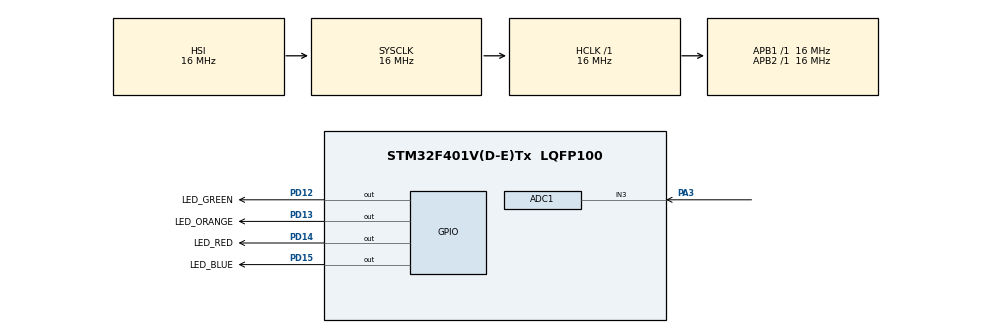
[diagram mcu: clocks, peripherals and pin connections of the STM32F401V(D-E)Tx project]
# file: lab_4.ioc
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ADC1.Channel-3\#ChannelRegularConversion=ADC_CHANNEL_3
ADC1.ClockPrescaler=ADC_CLOCK_SYNC_PCLK_DIV8
ADC1.NbrOfConversionFlag=1
ADC1.Rank-3\#ChannelRegularConversion=1
ADC1.SamplingTime-3\#ChannelRegularConversion=ADC_SAMPLETIME_480CYCLES
ADC1.master=1
Mcu.Family=STM32F4
Mcu.Name=STM32F401V(D-E)Tx
Mcu.Package=LQFP100
NVIC.ADC_IRQn=true\:0\:0\:false\:false\:true\:true\:true\:true
NVIC.PriorityGroup=NVIC_PRIORITYGROUP_4
PA3.Signal=ADCx_IN3
PD12.GPIO_Label=LED_GREEN
PD12.Signal=GPIO_Output
PD13.GPIO_Label=LED_ORANGE
PD13.Signal=GPIO_Output
PD14.GPIO_Label=LED_RED
PD14.Signal=GPIO_Output
PD15.GPIO_Label=LED_BLUE
PD15.Signal=GPIO_Output
ProjectManager.HeapSize=0x200
ProjectManager.StackSize=0x400
ProjectManager.TargetToolchain=STM32CubeIDE
RCC.AHBFreq_Value=16000000
RCC.APB1Freq_Value=16000000
RCC.APB2Freq_Value=16000000
RCC.CortexFreq_Value=16000000
RCC.HSE_VALUE=25000000
RCC.HSI_VALUE=16000000
RCC.LSE_VALUE=32768
RCC.SYSCLKFreq_VALUE=16000000
RCC.VCOOutputFreq_Value=192000000
SH.ADCx_IN3.0=ADC1_IN3,IN3
board=custom

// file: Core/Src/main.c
/* USER CODE BEGIN Header */
/**
  ******************************************************************************
  * @file           : main.c
  * @brief          : Main program body
  ******************************************************************************
  * @attention
  *
  * Copyright (c) 2023 STMicroelectronics.
  * All rights reserved.
  *
  * This software is licensed under terms that can be found in the LICENSE file
  * in the root directory of this software component.
  * If no LICENSE file comes with this software, it is provided AS-IS.
  *
  ******************************************************************************
  */
/* USER CODE END Header */
#include "main.h"

/* USER CODE BEGIN PD */
#define MAX_ADC (4096)
/* USER CODE END PD */

ADC_HandleTypeDef hadc1;

void SystemClock_Config(void);
static void MX_GPIO_Init(void);
static void MX_ADC1_Init(void);

/* USER CODE BEGIN 0 */
void HAL_ADC_ConvCpltCallback(ADC_HandleTypeDef* hadc)
{
	uint32_t value;

	if (hadc->Instance == ADC1)
	{
		value = HAL_ADC_GetValue(&hadc1);

		if (value < (MAX_ADC * 0.2))
		{
			HAL_GPIO_WritePin(LED_GREEN_GPIO_Port, LED_GREEN_Pin, GPIO_PIN_RESET);
			HAL_GPIO_WritePin(LED_ORANGE_GPIO_Port, LED_ORANGE_Pin, GPIO_PIN_RESET);
			HAL_GPIO_WritePin(LED_RED_GPIO_Port, LED_RED_Pin, GPIO_PIN_RESET);
			HAL_GPIO_WritePin(LED_BLUE_GPIO_Port, LED_BLUE_Pin, GPIO_PIN_RESET);
		}
		else if (value < (MAX_ADC * 0.4))
		{
			HAL_GPIO_WritePin(LED_GREEN_GPIO_Port, LED_GREEN_Pin, GPIO_PIN_SET);
			HAL_GPIO_WritePin(LED_ORANGE_GPIO_Port, LED_ORANGE_Pin, GPIO_PIN_RESET);
			HAL_GPIO_WritePin(LED_RED_GPIO_Port, LED_RED_Pin, GPIO_PIN_RESET);
			HAL_GPIO_WritePin(LED_BLUE_GPIO_Port, LED_BLUE_Pin, GPIO_PIN_RESET);
		}
		else if (value < (MAX_ADC * 0.6))
		{
			HAL_GPIO_WritePin(LED_GREEN_GPIO_Port, LED_GREEN_Pin, GPIO_PIN_SET);
			HAL_GPIO_WritePin(LED_ORANGE_GPIO_Port, LED_ORANGE_Pin, GPIO_PIN_SET);
			HAL_GPIO_WritePin(LED_RED_GPIO_Port, LED_RED_Pin, GPIO_PIN_RESET);
			HAL_GPIO_WritePin(LED_BLUE_GPIO_Port, LED_BLUE_Pin, GPIO_PIN_RESET);
		}
		else if (value < (MAX_ADC * 0.8))
		{
			HAL_GPIO_WritePin(LED_GREEN_GPIO_Port, LED_GREEN_Pin, GPIO_PIN_SET);
			HAL_GPIO_WritePin(LED_ORANGE_GPIO_Port, LED_ORANGE_Pin, GPIO_PIN_SET);
			HAL_GPIO_WritePin(LED_RED_GPIO_Port, LED_RED_Pin, GPIO_PIN_SET);
			HAL_GPIO_WritePin(LED_BLUE_GPIO_Port, LED_BLUE_Pin, GPIO_PIN_RESET);
		}
		else
		{
			HAL_GPIO_WritePin(LED_GREEN_GPIO_Port, LED_GREEN_Pin, GPIO_PIN_SET);
			HAL_GPIO_WritePin(LED_ORANGE_GPIO_Port, LED_ORANGE_Pin, GPIO_PIN_SET);
			HAL_GPIO_WritePin(LED_RED_GPIO_Port, LED_RED_Pin, GPIO_PIN_SET);
			HAL_GPIO_WritePin(LED_BLUE_GPIO_Port, LED_BLUE_Pin, GPIO_PIN_SET);
		}

		HAL_ADC_Start_IT(&hadc1);
	}
}
/* USER CODE END 0 */

int main(void)
{

  /* MCU Configuration--------------------------------------------------------*/

  /* Reset of all peripherals, Initializes the Flash interface and the Systick. */
  HAL_Init();

  /* Configure the system clock */
  SystemClock_Config();

  /* Initialize all configured peripherals */
  MX_GPIO_Init();
  MX_ADC1_Init();

  /* Infinite loop */
  /* USER CODE BEGIN WHILE */

  HAL_ADC_Start_IT(&hadc1);

  while (1)
  {
    /* USER CODE END WHILE */

  }
}

void SystemClock_Config(void)
{
  RCC_OscInitTypeDef RCC_OscInitStruct = {0};
  RCC_ClkInitTypeDef RCC_ClkInitStruct = {0};

  /** Configure the main internal regulator output voltage
  */
  __HAL_RCC_PWR_CLK_ENABLE();
  __HAL_PWR_VOLTAGESCALING_CONFIG(PWR_REGULATOR_VOLTAGE_SCALE2);

  /** Initializes the RCC Oscillators according to the specified parameters
  * in the RCC_OscInitTypeDef structure.
  */
  RCC_OscInitStruct.OscillatorType = RCC_OSCILLATORTYPE_HSI;
  RCC_OscInitStruct.HSIState = RCC_HSI_ON;
  RCC_OscInitStruct.HSICalibrationValue = RCC_HSICALIBRATION_DEFAULT;
  RCC_OscInitStruct.PLL.PLLState = RCC_PLL_NONE;
  if (HAL_RCC_OscConfig(&RCC_OscInitStruct) != HAL_OK)
  {
    Error_Handler();
  }

  /** Initializes the CPU, AHB and APB buses clocks
  */
  RCC_ClkInitStruct.ClockType = RCC_CLOCKTYPE_HCLK|RCC_CLOCKTYPE_SYSCLK
                              |RCC_CLOCKTYPE_PCLK1|RCC_CLOCKTYPE_PCLK2;
  RCC_ClkInitStruct.SYSCLKSource = RCC_SYSCLKSOURCE_HSI;
  RCC_ClkInitStruct.AHBCLKDivider = RCC_SYSCLK_DIV1;
  RCC_ClkInitStruct.APB1CLKDivider = RCC_HCLK_DIV1;
  RCC_ClkInitStruct.APB2CLKDivider = RCC_HCLK_DIV1;

  if (HAL_RCC_ClockConfig(&RCC_ClkInitStruct, FLASH_LATENCY_0) != HAL_OK)
  {
    Error_Handler();
  }
}

static void MX_ADC1_Init(void)
{

  ADC_ChannelConfTypeDef sConfig = {0};

  /** Configure the global features of the ADC (Clock, Resolution, Data Alignment and number of conversion)
  */
  hadc1.Instance = ADC1;
  hadc1.Init.ClockPrescaler = ADC_CLOCK_SYNC_PCLK_DIV8;
  hadc1.Init.Resolution = ADC_RESOLUTION_12B;
  hadc1.Init.ScanConvMode = DISABLE;
  hadc1.Init.ContinuousConvMode = DISABLE;
  hadc1.Init.DiscontinuousConvMode = DISABLE;
  hadc1.Init.ExternalTrigConvEdge = ADC_EXTERNALTRIGCONVEDGE_NONE;
  hadc1.Init.ExternalTrigConv = ADC_SOFTWARE_START;
  hadc1.Init.DataAlign = ADC_DATAALIGN_RIGHT;
  hadc1.Init.NbrOfConversion = 1;
  hadc1.Init.DMAContinuousRequests = DISABLE;
  hadc1.Init.EOCSelection = ADC_EOC_SINGLE_CONV;
  if (HAL_ADC_Init(&hadc1) != HAL_OK)
  {
    Error_Handler();
  }

  /** Configure for the selected ADC regular channel its corresponding rank in the sequencer and its sample time.
  */
  sConfig.Channel = ADC_CHANNEL_3;
  sConfig.Rank = 1;
  sConfig.SamplingTime = ADC_SAMPLETIME_480CYCLES;
  if (HAL_ADC_ConfigChannel(&hadc1, &sConfig) != HAL_OK)
  {
    Error_Handler();
  }

}

static void MX_GPIO_Init(void)
{
  GPIO_InitTypeDef GPIO_InitStruct = {0};

  /* GPIO Ports Clock Enable */
  __HAL_RCC_GPIOA_CLK_ENABLE();
  __HAL_RCC_GPIOD_CLK_ENABLE();

  /*Configure GPIO pin Output Level */
  HAL_GPIO_WritePin(GPIOD, LED_GREEN_Pin|LED_ORANGE_Pin|LED_RED_Pin|LED_BLUE_Pin, GPIO_PIN_RESET);

  /*Configure GPIO pins : LED_GREEN_Pin LED_ORANGE_Pin LED_RED_Pin LED_BLUE_Pin */
  GPIO_InitStruct.Pin = LED_GREEN_Pin|LED_ORANGE_Pin|LED_RED_Pin|LED_BLUE_Pin;
  GPIO_InitStruct.Mode = GPIO_MODE_OUTPUT_PP;
  GPIO_InitStruct.Pull = GPIO_NOPULL;
  GPIO_InitStruct.Speed = GPIO_SPEED_FREQ_LOW;
  HAL_GPIO_Init(GPIOD, &GPIO_InitStruct);

}

void Error_Handler(void)
{
  __disable_irq();
  while (1)
  {
  }
}
